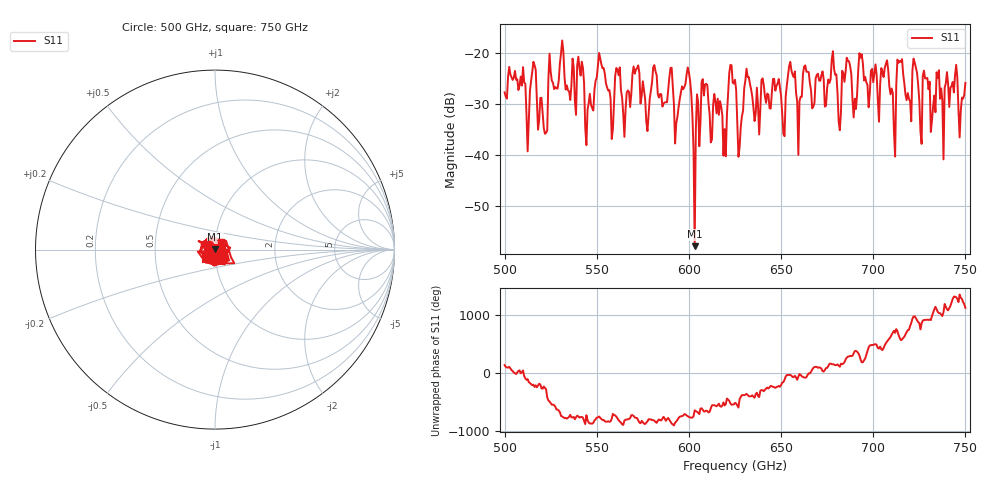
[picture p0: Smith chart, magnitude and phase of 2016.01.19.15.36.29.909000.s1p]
!Created with skrf (http://scikit-rf.org).
# GHz S RI R 50.0
!freq ReS11 ImS11
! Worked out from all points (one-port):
!   401 points, 500 GHz to 750 GHz, reference 50 ohm
!   lowest |S11| = -57.8 dB at 603.1 GHz (marker M1), VSWR 1.00, Z = 50 + j0.122 ohm
!   |S11| at or under -10 dB: start of sweep to end of sweep
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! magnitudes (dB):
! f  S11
! 500 GHz  -27.8
! 513.1 GHz  -33.3
! 515.6 GHz  -21.8
! 521.9 GHz  -35.9
! 531.2 GHz  -17.6
! 545 GHz  -31.1
! 551.9 GHz  -21.1
! 558.1 GHz  -36.9
! 562.5 GHz  -22.9
! 590 GHz  -23.0
! 593.8 GHz  -32.6
! 600 GHz  -23.9
! 603.1 GHz  -57.8
! 608.1 GHz  -28.4
! 619.4 GHz  -35.0
! 622.5 GHz  -22.4
! 625 GHz  -25.3
! 627.5 GHz  -38.5
! 631.2 GHz  -23.1
! 651.2 GHz  -35.9
! 656.2 GHz  -24.3
! 660 GHz  -29.4
! 663.1 GHz  -22.5
! 678.8 GHz  -23.2
! 681.2 GHz  -33.5
! 687.5 GHz  -22.7
! 718.8 GHz  -27.9
! 750 GHz  -25.9
